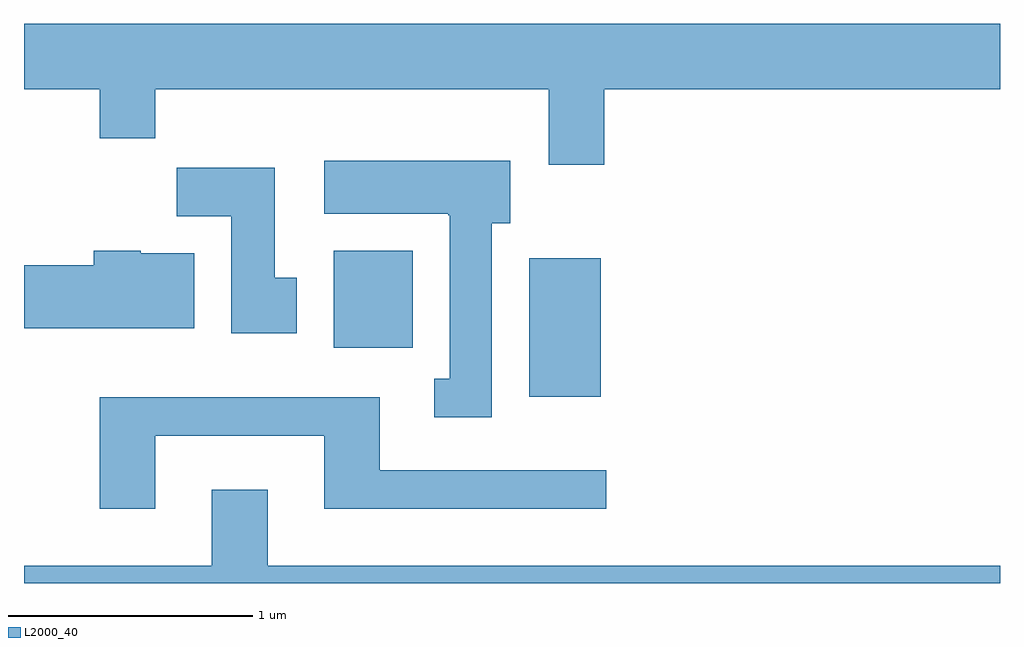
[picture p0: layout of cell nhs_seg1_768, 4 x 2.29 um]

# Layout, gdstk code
import gdstk
lib = gdstk.Library(unit=1e-6, precision=1e-09)
def R(c, l, rs):  # rectangles x0, y0, x1, y1
    for r in rs: c.add(gdstk.rectangle(r[:2], r[2:], *l))
def P(c, l, *ps):  # polygons
    for p in ps: c.add(gdstk.Polygon(p, *l))
L2000_40 = (2000, 40)

nhs_seg1_768 = lib.new_cell('nhs_seg1_768')
R(nhs_seg1_768, L2000_40, [(209.681,960.476,209.974,961.044), (208.881,960.676,209.204,961.074)])
P(nhs_seg1_768, L2000_40, [(209.989,961.736),(211.611,961.736),(211.611,962.004),(207.611,962.004),(207.611,961.736),(207.921,961.736),(207.921,961.536),(208.149,961.536),(208.149,961.736),(209.761,961.736),(209.761,961.426),(209.989,961.426)],
  [(209.529,961.186),(209.604,961.186),(209.604,961.444),(208.841,961.444),(208.841,961.226),(209.35,961.226),(209.35,961.22),(209.356,961.22),(209.356,960.549),(209.293,960.549),(209.293,960.391),(209.529,960.391)],
  [(208.729,960.964),(208.639,960.964),(208.639,961.414),(208.236,961.414),(208.236,961.216),(208.461,961.216),(208.461,960.736),(208.729,960.736)],
  [(208.309,961.064),(208.09,961.064),(208.09,961.074),(207.896,961.074),(207.896,961.014),(207.611,961.014),(207.611,960.756),(208.309,960.756)],
  [(208.149,960.316),(208.841,960.316),(208.841,960.016),(209.998,960.016),(209.998,960.174),(209.069,960.174),(209.069,960.474),(207.921,960.474),(207.921,960.016),(208.149,960.016)],
  [(211.611,959.784),(208.609,959.784),(208.609,960.094),(208.381,960.094),(208.381,959.784),(207.611,959.784),(207.611,959.712),(211.611,959.712)])

lib.write_gds('nhs_seg1_768.gds')
